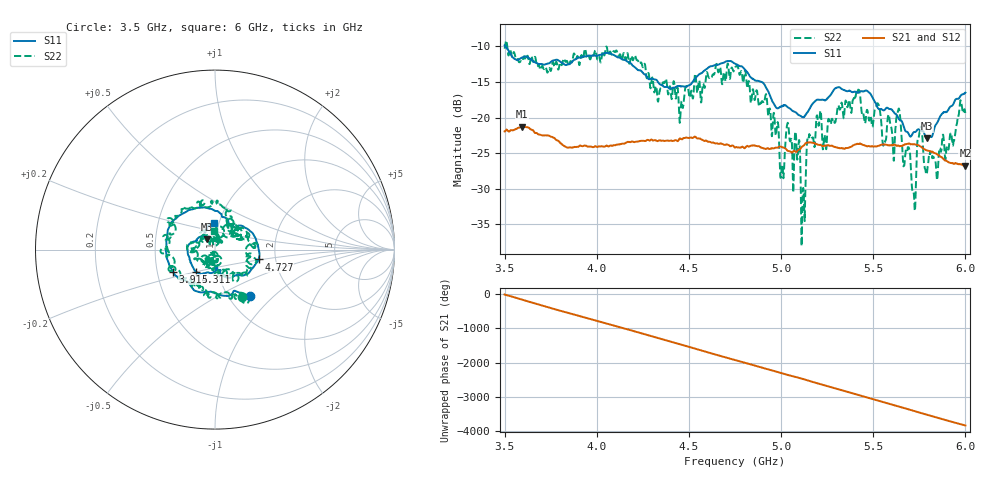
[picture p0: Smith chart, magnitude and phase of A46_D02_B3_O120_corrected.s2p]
! Created with skrf 1.9.0 (http://scikit-rf.org).
# Hz S RI R 50.0
!freq ReS11 ImS11 ReS21 ImS21 ReS12 ImS12 ReS22 ImS22
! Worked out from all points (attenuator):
!   1601 points, 3.5 GHz to 6 GHz, reference 50 ohm
!   highest |S21| = -21.29 dB at 3.594 GHz (marker M1); lowest = -26.8 dB at 6 GHz (marker M2)
!   lowest |S11| = -22.9 dB at 5.791 GHz (marker M3), VSWR 1.15, Z = 45.6 + j5.23 ohm
!   |S11| at or under -10 dB: 3.505 GHz to end of sweep
!   |S22| runs from -38.1 to -9.2 dB; largest |S21 - S12| = 0.00093
!   S11 on the Smith chart (normalised r, x): 3.5 GHz: 1.25, -0.72; 3.914 GHz: 0.61, -0.16; 4.727 GHz: 1.63, -0.19; 5.311 GHz: 0.79, -0.20; 6 GHz: 0.94, +0.29
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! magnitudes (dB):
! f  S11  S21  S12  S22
! 3.5 GHz  -9.8  -21.9  -21.9  -10.3
! 3.594 GHz  -11.6  -21.3  -21.3  -12.2
! 3.914 GHz  -11.6  -24.0  -23.9  -11.3
! 3.917 GHz  -11.6  -24.0  -24.0  -11.2
! 4.213 GHz  -13.1  -23.4  -23.4  -11.6
! 4.334 GHz  -15.1  -23.3  -23.2  -17.5
! 4.727 GHz  -12.1  -24.0  -23.9  -13.7
! 4.75 GHz  -12.4  -24.2  -24.1  -13.0
! 4.914 GHz  -15.6  -24.4  -24.4  -17.0
! 5.005 GHz  -18.4  -24.1  -24.2  -26.7
! 5.034 GHz  -18.5  -24.6  -24.5  -20.9
! 5.088 GHz  -19.5  -24.7  -24.7  -25.9
! 5.119 GHz  -19.9  -24.0  -23.9  -30.0
! 5.147 GHz  -19.1  -23.5  -23.5  -23.1
! 5.167 GHz  -18.2  -23.5  -23.5  -22.9
! 5.311 GHz  -15.7  -24.3  -24.2  -18.3
! 5.584 GHz  -18.8  -23.9  -23.9  -19.5
! 5.639 GHz  -20.2  -24.0  -23.9  -18.7
! 5.719 GHz  -22.1  -23.8  -23.7  -30.5
! 5.752 GHz  -21.7  -24.0  -23.9  -22.0
! 5.791 GHz  -22.9  -24.6  -24.5  -27.8
! 6 GHz  -16.5  -26.8  -26.7  -19.5
